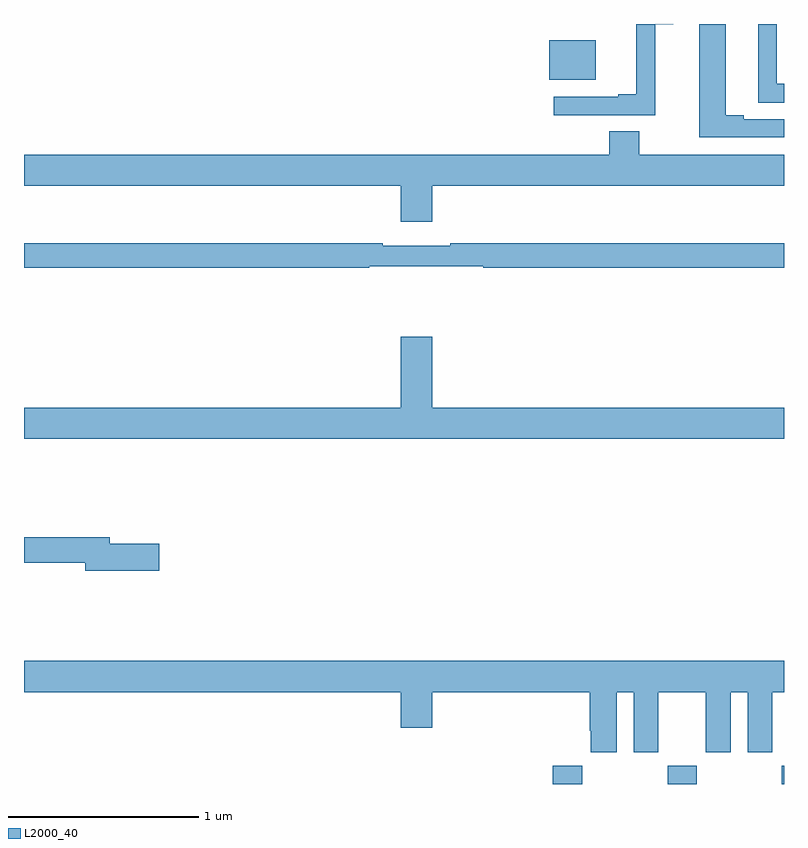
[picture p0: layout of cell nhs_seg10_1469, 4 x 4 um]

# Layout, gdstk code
import gdstk
lib = gdstk.Library(unit=1e-6, precision=1e-09)
def R(c, l, rs):  # rectangles x0, y0, x1, y1
    for r in rs: c.add(gdstk.rectangle(r[:2], r[2:], *l))
def P(c, l, *ps):  # polygons
    for p in ps: c.add(gdstk.Polygon(p, *l))
L2000_40 = (2000, 40)

nhs_seg10_1469 = lib.new_cell('nhs_seg10_1469')
R(nhs_seg10_1469, L2000_40, [(189.782,1298.5,189.937,1298.596), (190.387,1298.5,190.542,1298.596), (190.987,1298.5,191,1298.596), (189.764,1302.206,190.009,1302.415)])
P(nhs_seg10_1469, L2000_40, [(191,1302.186),(190.962,1302.186),(190.962,1302.5),(190.865,1302.5),(190.865,1302.085),(191,1302.085)],
  [(190.323,1302.499),(190.417,1302.499),(190.417,1302.5),(190.223,1302.5),(190.223,1302.13),(190.127,1302.13),(190.127,1302.117),(189.789,1302.117),(189.789,1302.021),(190.323,1302.021)],
  [(191,1302),(190.789,1302),(190.789,1302.02),(190.693,1302.02),(190.693,1302.5),(190.553,1302.5),(190.553,1301.904),(191,1301.904)],
  [(189.148,1301.648),(191,1301.648),(191,1301.812),(190.239,1301.812),(190.239,1301.936),(190.079,1301.936),(190.079,1301.812),(187,1301.812),(187,1301.648),(188.984,1301.648),(188.984,1301.46),(189.148,1301.46)],
  [(188.816,1301.226),(189.416,1301.226),(189.416,1301.218),(191,1301.218),(191,1301.347),(189.244,1301.347),(189.244,1301.334),(188.888,1301.334),(188.888,1301.347),(187,1301.347),(187,1301.218),(188.816,1301.218)],
  [(191,1300.48),(189.148,1300.48),(189.148,1300.855),(188.984,1300.855),(188.984,1300.48),(187,1300.48),(187,1300.316),(191,1300.316)],
  [(187.711,1299.764),(187.45,1299.764),(187.45,1299.8),(187,1299.8),(187,1299.664),(187.322,1299.664),(187.322,1299.622),(187.711,1299.622)],
  [(187,1298.984),(188.984,1298.984),(188.984,1298.796),(189.148,1298.796),(189.148,1298.984),(189.977,1298.984),(189.977,1298.779),(189.983,1298.779),(189.983,1298.667),(190.12,1298.667),(190.12,1298.984),(190.208,1298.984),(190.208,1298.667),(190.339,1298.667),(190.339,1298.984),(190.589,1298.984),(190.589,1298.667),(190.72,1298.667),(190.72,1298.984),(190.808,1298.984),(190.808,1298.667),(190.939,1298.667),(190.939,1298.984),(191,1298.984),(191,1299.148),(187,1299.148)])

lib.write_gds('nhs_seg10_1469.gds')
